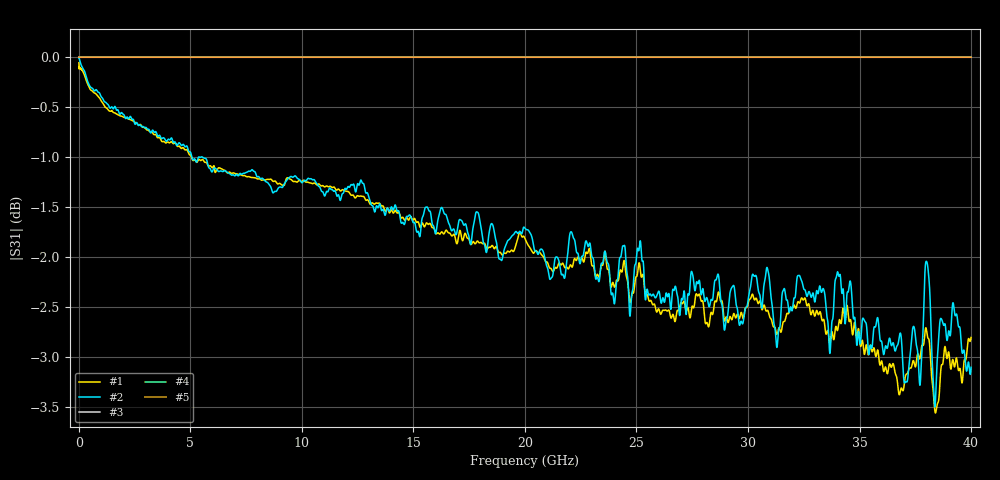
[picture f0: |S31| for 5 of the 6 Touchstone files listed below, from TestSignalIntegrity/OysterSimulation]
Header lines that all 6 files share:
# MHz MA S R 50.0
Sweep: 5 MHz to 40 GHz
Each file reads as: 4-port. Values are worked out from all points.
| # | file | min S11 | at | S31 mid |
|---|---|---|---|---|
| 1 | OysterDeembeddingFixture.s4p | -64.5 dB | 815 MHz | -1.8 dB at 20 GHz |
| 2 | OysterErrorTermsDeembed1.s4p | -59.0 dB | 2.575 GHz | -1.7 dB at 20 GHz |
| 3 | TestOysterTest_testOysterTwoPortOysterFixtureFile1.s4p | -79.3 dB | 25.7 GHz | 0.0 dB at 20 GHz |
| 4 | TestOysterTest_testOysterTwoPortOysterFixtureFileNew1.s4p | -59.0 dB | 2.575 GHz | 0.0 dB at 20 GHz |
| 5 | TestOysterTest_testOysterTwoPortOysterFixtureFileNewer1.s4p | -63.0 dB | 7.095 GHz | 0.0 dB at 20 GHz |
| 6 | TestOysterTest_testZOysterMonteCarloOysterFixtureFileNewerTest1.s4p | -59.0 dB | 2.575 GHz | 0.0 dB at 20 GHz |
